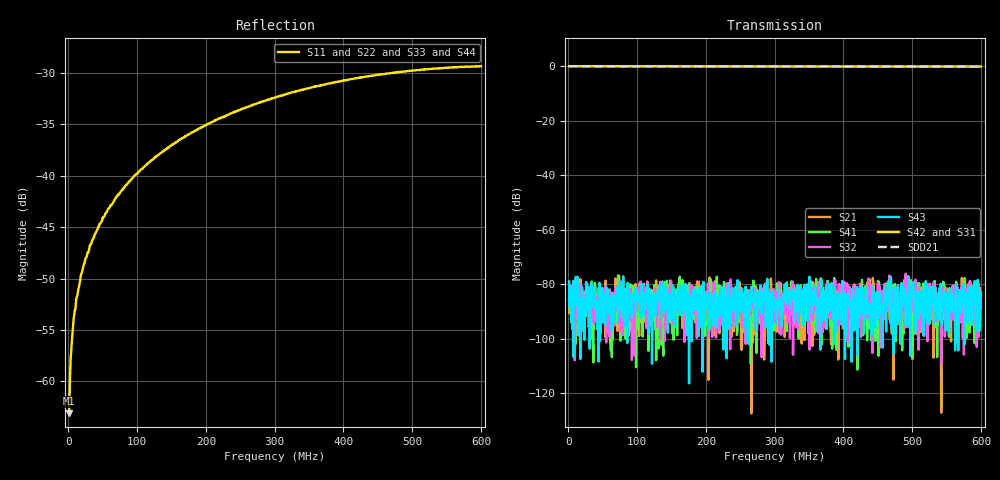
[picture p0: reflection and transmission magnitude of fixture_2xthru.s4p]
! synthetic 2x-thru of fixture_launch
! synthetic measurement, noise -85.0 dB
# Hz S RI R 50
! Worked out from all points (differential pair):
!   801 points, 1 MHz to 600 MHz, reference 50 ohm
!   strongest paths, dB at 1 MHz, 150.8 MHz, 300.5 MHz, 450.2 MHz, 600 MHz:
!     S42: 0.0, -0.1, -0.1, -0.1, -0.1
!     S31: 0.0, -0.1, -0.1, -0.1, -0.1
!     S43: -79.0, -84.8, -89.2, -92.4, -83.1
!     S32: -85.5, -84.8, -91.8, -79.5, -89.0
!     S41: -85.7, -87.2, -84.9, -83.3, -85.1
!     S21: -79.1, -97.9, -96.8, -78.8, -88.0
!   taken as a pair (ports 2,1 in; 4,3 out), SDD21 dB: 0.0, -0.1, -0.1, -0.1, -0.1
!   lowest |S11| = -63.1 dB at 1 MHz (marker M1), VSWR 1.00, Z = 50.1 + j0.0137 ohm
!   |S11| at or under -10 dB: start of sweep to end of sweep
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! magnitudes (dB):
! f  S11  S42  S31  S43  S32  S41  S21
! 1 MHz  -63.1  0.0  0.0  -79.0  -85.5  -85.7  -79.1
! 9.985 MHz  -53.1  0.0  0.0  -84.2  -93.0  -102.1  -88.9
! 30.95 MHz  -46.8  0.0  0.0  -103.6  -93.5  -82.4  -86.8
! 69.14 MHz  -42.1  0.0  0.0  -85.0  -83.4  -84.3  -87.9
! 126.8 MHz  -38.2  -0.1  -0.1  -91.1  -85.0  -82.4  -91.0
! 322.2 MHz  -31.9  -0.1  -0.1  -87.2  -99.7  -85.8  -83.4
! 600 MHz  -29.3  -0.1  -0.1  -83.1  -89.0  -85.1  -88.0
